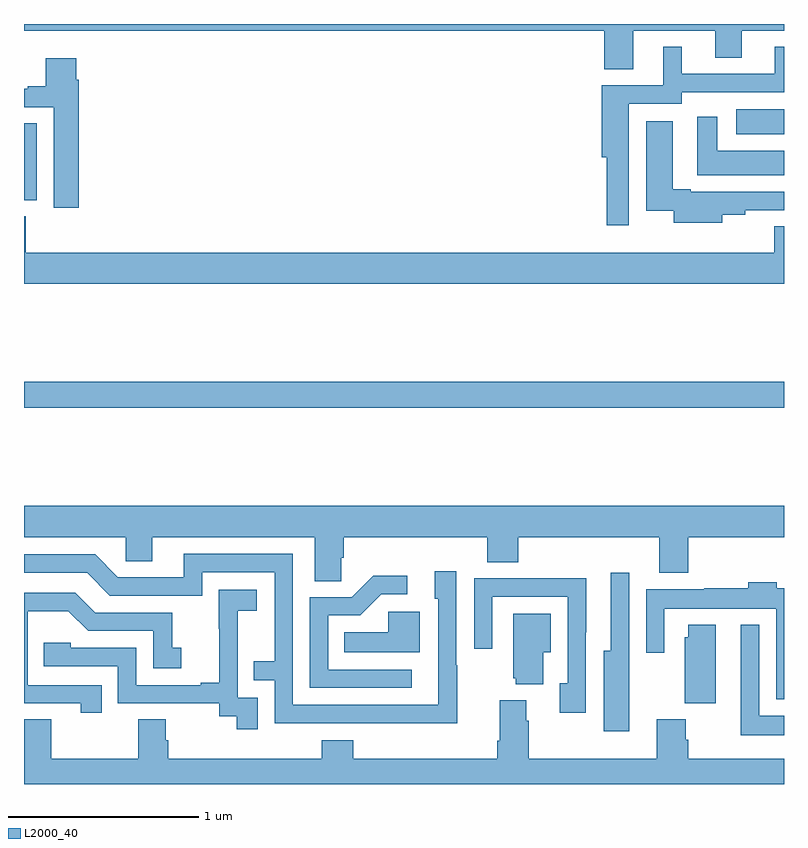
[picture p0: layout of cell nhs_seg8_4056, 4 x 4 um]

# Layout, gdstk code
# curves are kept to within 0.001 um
import gdstk
lib = gdstk.Library(unit=1e-6, precision=1e-09)
def R(c, l, rs):  # rectangles x0, y0, x1, y1
    for r in rs: c.add(gdstk.rectangle(r[:2], r[2:], *l))
def P(c, l, *ps):  # polygons
    for p in ps: c.add(gdstk.Polygon(p, *l))
L2000_40 = (2000, 40)

nhs_seg8_4056 = lib.new_cell('nhs_seg8_4056')
R(nhs_seg8_4056, L2000_40, [(361,1083.88,365,1084.016), (361,1084.973,361.066,1085.378), (364.749,1085.321,365,1085.452)])
P(nhs_seg8_4056, L2000_40, [(364.207,1085.864),(364.637,1085.864),(364.637,1085.722),(364.777,1085.722),(364.777,1085.864),(365,1085.864),(365,1085.9),(361,1085.9),(361,1085.864),(364.055,1085.864),(364.055,1085.662),(364.207,1085.662)],
  [(364.182,1085.481),(364.461,1085.481),(364.461,1085.541),(365,1085.541),(365,1085.779),(364.952,1085.779),(364.952,1085.637),(364.462,1085.637),(364.462,1085.779),(364.364,1085.779),(364.364,1085.577),(364.04,1085.577),(364.04,1085.198),(364.066,1085.198),(364.066,1084.842),(364.182,1084.842)],
  [(361.289,1085.606),(361.276,1085.606),(361.276,1085.719),(361.115,1085.719),(361.115,1085.572),(361.019,1085.572),(361.019,1085.559),(361,1085.559),(361,1085.463),(361.157,1085.463),(361.157,1084.932),(361.289,1084.932)],
  [(365,1085.233),(364.648,1085.233),(364.648,1085.413),(364.544,1085.413),(364.544,1085.105),(365,1085.105)],
  [(364.675,1084.895),(364.797,1084.895),(364.797,1084.92),(365,1084.92),(365,1085.016),(364.51,1085.016),(364.51,1085.029),(364.414,1085.029),(364.414,1085.389),(364.274,1085.389),(364.274,1084.918),(364.421,1084.918),(364.421,1084.853),(364.675,1084.853)],
  [(365,1084.835),(364.949,1084.835),(364.949,1084.696),(361.01,1084.696),(361.01,1084.888),(361,1084.888),(361,1084.532),(365,1084.532)],
  [(362.67,1083.091),(362.684,1083.091),(362.684,1083.2),(363.437,1083.2),(363.437,1083.067),(363.602,1083.067),(363.602,1083.2),(364.343,1083.2),(364.343,1083.011),(364.496,1083.011),(364.496,1083.2),(365,1083.2),(365,1083.364),(361,1083.364),(361,1083.2),(361.536,1083.2),(361.536,1083.073),(361.675,1083.073),(361.675,1083.2),(362.531,1083.2),(362.531,1082.968),(362.67,1082.968)],
  [(363.279,1082.525),(363.276,1082.525),(363.276,1083.019),(363.161,1083.019),(363.161,1082.874),(363.18,1082.874),(363.179,1082.316),(362.415,1082.316),(362.415,1083.111),(361.841,1083.111),(361.841,1082.988),(361.494,1082.988),(361.374,1083.108),(361,1083.108),(361,1083.012),(361.332,1083.012),(361.452,1082.892),(361.938,1082.892),(361.938,1083.015),(362.319,1083.015),(362.319,1082.546),(362.209,1082.546),(362.209,1082.445),(362.319,1082.445),(362.319,1082.22),(363.279,1082.219)],
  [(364.186,1082.498),(364.185,1082.498),(364.185,1083.013),(364.088,1083.013),(364.088,1082.602),(364.052,1082.602),(364.052,1082.178),(364.186,1082.178)],
  [(363.04,1082.502),(362.601,1082.502),(362.601,1082.787),(362.77,1082.787),(362.881,1082.898),(363.016,1082.898),(363.016,1082.996),(362.837,1082.996),(362.724,1082.883),(362.505,1082.883),(362.505,1082.406),(363.04,1082.406)],
  [(363.957,1082.698),(363.958,1082.698),(363.958,1082.984),(363.685,1082.984),(363.685,1082.982),(363.369,1082.982),(363.369,1082.613),(363.465,1082.613),(363.465,1082.886),(363.861,1082.886),(363.861,1082.43),(363.821,1082.43),(363.821,1082.274),(363.957,1082.274)],
  [(365,1082.929),(364.963,1082.929),(364.963,1082.962),(364.811,1082.962),(364.811,1082.929),(364.579,1082.929),(364.579,1082.926),(364.275,1082.926),(364.275,1082.592),(364.371,1082.592),(364.371,1082.822),(364.959,1082.822),(364.959,1082.345),(365,1082.345)],
  [(362.229,1082.355),(362.124,1082.355),(362.124,1082.585),(362.126,1082.585),(362.126,1082.813),(362.224,1082.813),(362.224,1082.923),(362.026,1082.923),(362.026,1082.717),(362.027,1082.717),(362.027,1082.434),(361.931,1082.434),(361.931,1082.421),(361.59,1082.421),(361.59,1082.616),(361.245,1082.616),(361.245,1082.643),(361.105,1082.643),(361.105,1082.52),(361.494,1082.52),(361.494,1082.325),(362.028,1082.325),(362.028,1082.257),(362.121,1082.257),(362.121,1082.187),(362.229,1082.187)],
  [(361.409,1082.421),(361.02,1082.421),(361.02,1082.81),(361.234,1082.81),(361.338,1082.706),(361.68,1082.706),(361.68,1082.508),(361.828,1082.508),(361.828,1082.617),(361.779,1082.617),(361.779,1082.802),(361.375,1082.802),(361.27,1082.907),(361,1082.907),(361,1082.325),(361.298,1082.325),(361.298,1082.274),(361.409,1082.274)],
  [(363.082,1082.806),(362.917,1082.806),(362.917,1082.698),(362.686,1082.698),(362.686,1082.594),(363.082,1082.594)],
  [(363.733,1082.594),(363.772,1082.594),(363.772,1082.797),(363.575,1082.797),(363.575,1082.457),(363.587,1082.457),(363.587,1082.426),(363.733,1082.426)],
  [(365,1082.26),(364.869,1082.26),(364.869,1082.737),(364.772,1082.737),(364.772,1082.156),(365,1082.156)],
  [(364.642,1082.737),(364.496,1082.737),(364.496,1082.673),(364.478,1082.673),(364.478,1082.326),(364.642,1082.326)],
  [(365,1082.032),(364.496,1082.032),(364.496,1082.132),(364.483,1082.132),(364.483,1082.241),(364.331,1082.241),(364.331,1082.032),(363.656,1082.032),(363.656,1082.234),(363.643,1082.234),(363.643,1082.341),(363.503,1082.341),(363.503,1082.128),(363.491,1082.128),(363.491,1082.032),(362.732,1082.032),(362.732,1082.131),(362.567,1082.131),(362.567,1082.032),(361.76,1082.032),(361.76,1082.13),(361.747,1082.13),(361.747,1082.24),(361.6,1082.24),(361.6,1082.032),(361.143,1082.032),(361.143,1082.24),(361,1082.24),(361,1081.9),(365,1081.9)])

lib.write_gds('nhs_seg8_4056.gds')
